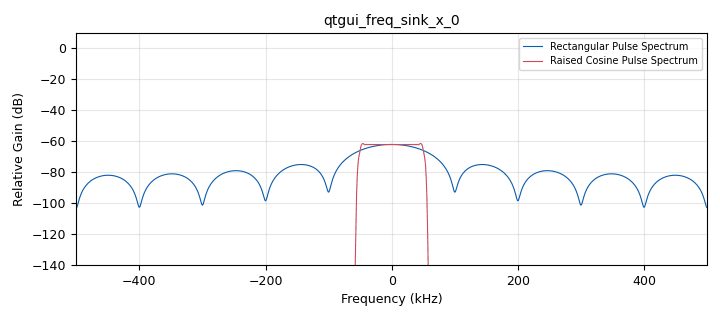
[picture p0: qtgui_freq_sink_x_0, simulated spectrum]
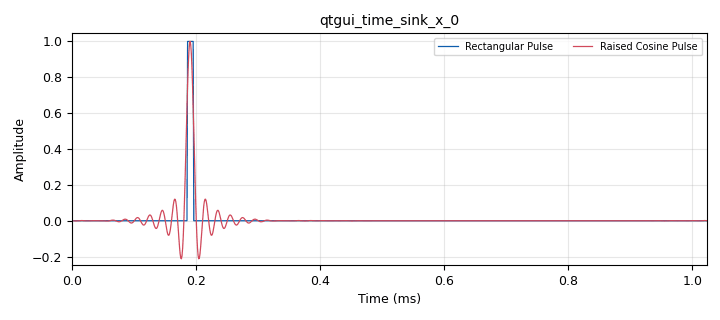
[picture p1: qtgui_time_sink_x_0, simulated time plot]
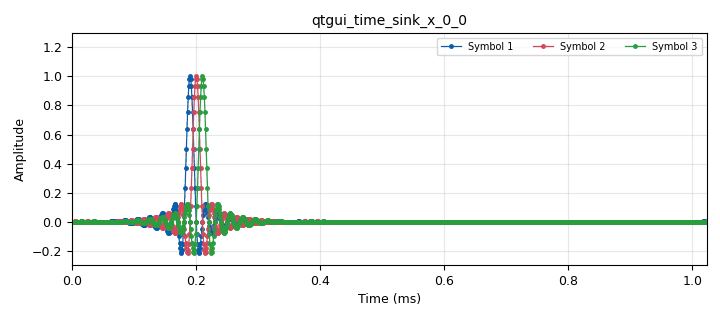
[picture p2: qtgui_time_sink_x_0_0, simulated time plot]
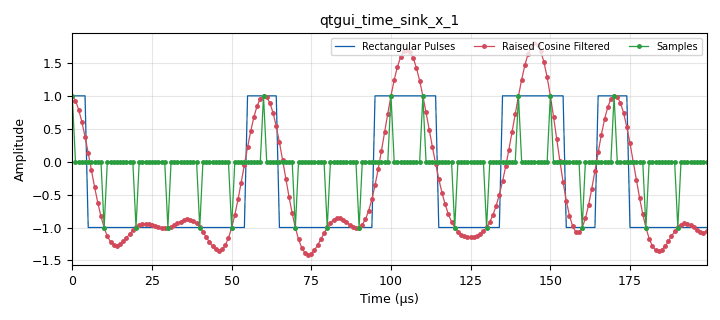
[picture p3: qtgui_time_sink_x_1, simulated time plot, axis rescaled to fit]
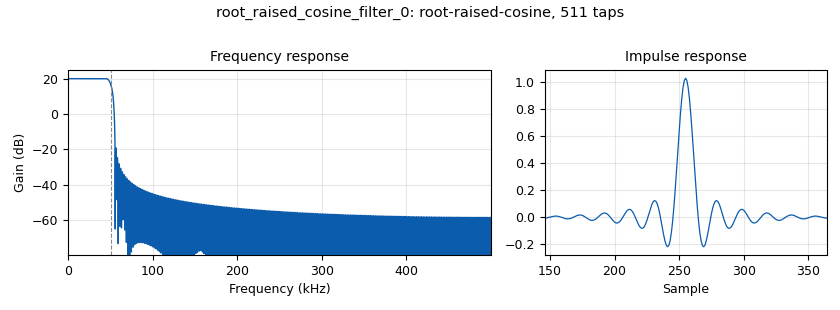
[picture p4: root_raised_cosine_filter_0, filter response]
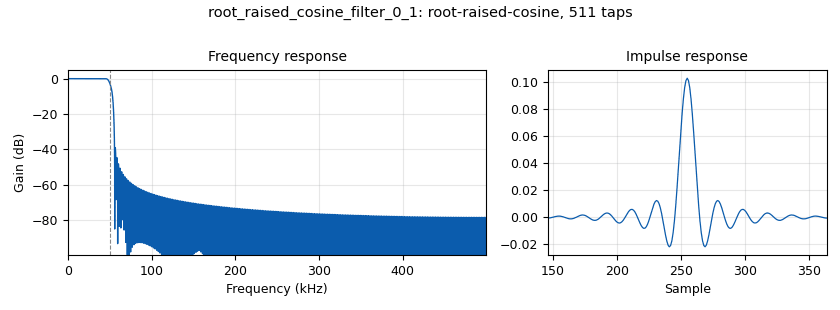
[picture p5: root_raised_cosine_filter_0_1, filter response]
options:
  parameters:
    author: Alex Brisson
    generate_options: qt_gui
    id: raisedcosine
    output_language: python
    title: 'raised cosine '
  states: {}

blocks:
- name: excessbw
  id: variable_qtgui_range
  parameters:
    gui_hint: 2,0,1,2
    start: '.01'
    step: '.01'
    stop: '1'
    value: '0.1'
  states: {}
- name: samp_rate
  id: variable
  parameters:
    value: 1e6
  states: {}
- name: sps
  id: variable
  parameters:
    value: '10'
  states: {}
- name: taps
  id: variable
  parameters:
    value: '511'
  states: {}
- name: analog_random_uniform_source_x_0
  id: analog_random_uniform_source_x
  parameters:
    maximum: '2'
    minimum: '0'
    seed: '0'
    type: byte
  states: {}
- name: blocks_char_to_float_0
  id: blocks_char_to_float
  parameters:
    scale: '1'
  states: {}
- name: blocks_delay_0
  id: blocks_delay
  parameters:
    delay: '506'
    type: float
  states: {}
- name: blocks_delay_0_0
  id: blocks_delay
  parameters:
    delay: '20'
    type: float
  states: {}
- name: blocks_delay_0_1
  id: blocks_delay
  parameters:
    delay: '10'
    type: float
  states: {}
- name: blocks_delay_1
  id: blocks_delay
  parameters:
    delay: '510'
    type: float
  states: {}
- name: blocks_delay_1_0
  id: blocks_delay
  parameters:
    delay: '505'
    type: float
  states: {}
- name: blocks_repeat_0
  id: blocks_repeat
  parameters:
    interp: sps
    type: float
  states: {}
- name: blocks_throttle_0
  id: blocks_throttle
  parameters:
    samples_per_second: samp_rate
    type: float
  states: {}
- name: blocks_throttle_1
  id: blocks_throttle
  parameters:
    samples_per_second: samp_rate
    type: byte
  states: {}
- name: blocks_vector_source_x_0
  id: blocks_vector_source_x
  parameters:
    comment: 10 impulses
    repeat: 'True'
    type: float
    vector: '[1]*sps+[0]*(1024-sps)'
  states: {}
- name: blocks_vector_source_x_0_0
  id: blocks_vector_source_x
  parameters:
    comment: Single Impulse
    repeat: 'True'
    type: float
    vector: '[1]+[0]*1023'
  states: {}
- name: digital_map_bb_0
  id: digital_map_bb
  parameters:
    map: '[1,-1]'
  states: {}
- name: interp_fir_filter_xxx_0
  id: interp_fir_filter_xxx
  parameters:
    comment: 1* random number with 9 zeros
    interp: sps
    taps: '[1]+[0]*(sps-1)'
    type: fff
  states: {}
- name: qtgui_freq_sink_x_0
  id: qtgui_freq_sink_x
  parameters:
    bw: samp_rate
    fc: '0'
    fftsize: '1024'
    grid: 'True'
    gui_hint: 0,1,1,1
    label1: Rectangular Pulse Spectrum
    label2: Raised Cosine Pulse Spectrum
    nconnections: '2'
    type: float
  states: {}
- name: qtgui_time_sink_x_0
  id: qtgui_time_sink_x
  parameters:
    gui_hint: 0,0,1,1
    label1: Rectangular Pulse
    label2: Raised Cosine Pulse
    nconnections: '2'
    size: '1024'
    srate: samp_rate
    type: float
    ymin: '-0.2'
  states: {}
- name: qtgui_time_sink_x_0_0
  id: qtgui_time_sink_x
  parameters:
    grid: 'True'
    gui_hint: 1,0,1,2
    label1: Symbol 1
    label2: Symbol 2
    label3: Symbol 3
    marker1: '0'
    marker2: '0'
    marker3: '0'
    nconnections: '3'
    size: '1024'
    srate: samp_rate
    type: float
    ymax: '1.3'
    ymin: '-0.3'
  states: {}
- name: qtgui_time_sink_x_1
  id: qtgui_time_sink_x
  parameters:
    gui_hint: 3,0,1,2
    label1: Rectangular Pulses
    label2: Raised Cosine Filtered
    label3: Samples
    marker2: '0'
    marker3: '0'
    nconnections: '3'
    size: '200'
    srate: samp_rate
    type: float
    update_time: '0.5'
    ymax: '1.5'
    ymin: '-1.5'
  states: {}
- name: root_raised_cosine_filter_0
  id: root_raised_cosine_filter
  parameters:
    alpha: excessbw
    decim: '1'
    gain: sps
    ntaps: taps
    samp_rate: samp_rate
    sym_rate: samp_rate/sps
    type: fir_filter_fff
  states: {}
- name: root_raised_cosine_filter_0_0
  id: root_raised_cosine_filter
  parameters:
    alpha: excessbw
    decim: '1'
    gain: sps
    ntaps: taps
    samp_rate: samp_rate
    sym_rate: samp_rate/sps
    type: fir_filter_fff
  states: {}
- name: root_raised_cosine_filter_0_1
  id: root_raised_cosine_filter
  parameters:
    alpha: excessbw
    decim: '1'
    gain: '1'
    ntaps: taps
    samp_rate: samp_rate
    sym_rate: samp_rate/sps
    type: fir_filter_fff
  states: {}
- name: root_raised_cosine_filter_1
  id: root_raised_cosine_filter
  parameters:
    alpha: excessbw
    decim: '1'
    gain: '1'
    ntaps: taps
    samp_rate: samp_rate
    sym_rate: samp_rate/sps
    type: fir_filter_fff
  states: {}

connections:
- [analog_random_uniform_source_x_0, '0', blocks_throttle_1, '0']
- [blocks_char_to_float_0, '0', blocks_repeat_0, '0']
- [blocks_char_to_float_0, '0', interp_fir_filter_xxx_0, '0']
- [blocks_delay_0, '0', qtgui_freq_sink_x_0, '0']
- [blocks_delay_0, '0', qtgui_time_sink_x_0, '0']
- [blocks_delay_0_0, '0', qtgui_time_sink_x_0_0, '2']
- [blocks_delay_0_1, '0', qtgui_time_sink_x_0_0, '1']
- [blocks_delay_1, '0', qtgui_time_sink_x_1, '2']
- [blocks_delay_1_0, '0', qtgui_time_sink_x_1, '0']
- [blocks_repeat_0, '0', blocks_delay_1_0, '0']
- [blocks_throttle_0, '0', blocks_delay_0, '0']
- [blocks_throttle_1, '0', digital_map_bb_0, '0']
- [blocks_vector_source_x_0, '0', blocks_throttle_0, '0']
- [blocks_vector_source_x_0_0, '0', root_raised_cosine_filter_0, '0']
- [digital_map_bb_0, '0', blocks_char_to_float_0, '0']
- [interp_fir_filter_xxx_0, '0', blocks_delay_1, '0']
- [interp_fir_filter_xxx_0, '0', root_raised_cosine_filter_0_0, '0']
- [root_raised_cosine_filter_0, '0', root_raised_cosine_filter_1, '0']
- [root_raised_cosine_filter_0_0, '0', root_raised_cosine_filter_0_1, '0']
- [root_raised_cosine_filter_0_1, '0', qtgui_time_sink_x_1, '1']
- [root_raised_cosine_filter_1, '0', blocks_delay_0_0, '0']
- [root_raised_cosine_filter_1, '0', blocks_delay_0_1, '0']
- [root_raised_cosine_filter_1, '0', qtgui_freq_sink_x_0, '1']
- [root_raised_cosine_filter_1, '0', qtgui_time_sink_x_0, '1']
- [root_raised_cosine_filter_1, '0', qtgui_time_sink_x_0_0, '0']

metadata:
  file_format: 1
  grc_version: 3.10.5.1
